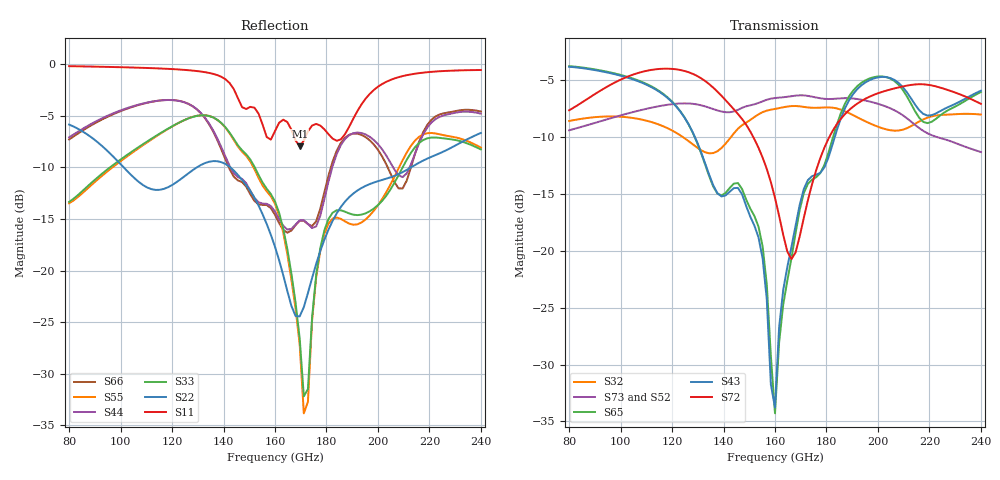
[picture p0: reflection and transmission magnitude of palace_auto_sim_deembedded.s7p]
! Created with skrf 1.11.0 (http://scikit-rf.org).
# GHz S DB R 50.0
!freq dBS11 angS11 dBS12 angS12 dBS13 angS13
! dBS14 angS14 dBS15 angS15 dBS16 angS16 dBS17 angS17
! dBS21 angS21 dBS22 angS22 dBS23 angS23
! dBS24 angS24 dBS25 angS25 dBS26 angS26 dBS27 angS27
! dBS31 angS31 dBS32 angS32 dBS33 angS33
! dBS34 angS34 dBS35 angS35 dBS36 angS36 dBS37 angS37
! dBS41 angS41 dBS42 angS42 dBS43 angS43
! dBS44 angS44 dBS45 angS45 dBS46 angS46 dBS47 angS47
! dBS51 angS51 dBS52 angS52 dBS53 angS53
! dBS54 angS54 dBS55 angS55 dBS56 angS56 dBS57 angS57
! dBS61 angS61 dBS62 angS62 dBS63 angS63
! dBS64 angS64 dBS65 angS65 dBS66 angS66 dBS67 angS67
! dBS71 angS71 dBS72 angS72 dBS73 angS73
! dBS74 angS74 dBS75 angS75 dBS76 angS76 dBS77 angS77
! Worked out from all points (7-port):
!   101 points, 80 GHz to 240 GHz, reference 50 ohm
!   strongest paths, dB at 80 GHz, 120 GHz, 160 GHz, 200 GHz, 240 GHz:
!     S72: -7.6, -4.0, -15.3, -6.1, -7.1
!     S43: -3.8, -6.9, -33.8, -4.7, -5.9
!     S65: -3.8, -6.9, -34.3, -4.7, -6.0
!     S73: -9.4, -7.1, -6.6, -7.1, -11.3
!     S52: -9.4, -7.1, -6.6, -7.2, -11.3
!     S32: -8.6, -9.4, -7.5, -9.1, -8.0
!   lowest |S11| = -8.0 dB at 169.6 GHz (marker M1), VSWR 2.33, Z = 21.6 + j4.47 ohm
!   |S11| at or under -10 dB: nowhere
